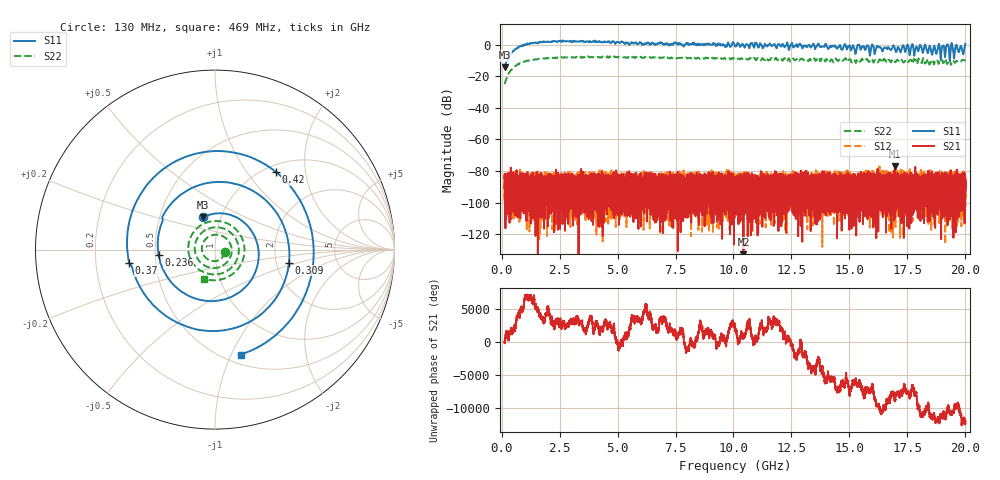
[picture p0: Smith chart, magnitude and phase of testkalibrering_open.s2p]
!Created with skrf (http://scikit-rf.org).
# GHz S RI R 50.0
!freq ReS11 ImS11 ReS21 ImS21 ReS12 ImS12 ReS22 ImS22
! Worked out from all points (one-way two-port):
!   20013 points, 130 MHz to 20 GHz, reference 50 ohm
!   highest |S21| = -77.01 dB at 16.97 GHz (marker M1); lowest = -135.9 dB at 10.43 GHz (marker M2)
!   lowest |S11| = -14.4 dB at 130 MHz (marker M3), VSWR 1.47, Z = 41.3 + j15.3 ohm
!   |S11| at or under -10 dB: start of sweep to 236.1 MHz; 19.31883 GHz to 19.32974 GHz (10.91 MHz wide, 0.0565 % of centre)
!   |S22| runs from -25.0 to -7.4 dB; largest |S21 - S12| = 0.00018
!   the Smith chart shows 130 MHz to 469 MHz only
!   S11 on the Smith chart (normalised r, x): 130 MHz: 0.83, +0.31; 236 MHz: 0.52, -0.04; 309 MHz: 2.35, -0.41; 370 MHz: 0.35, -0.07; 420 MHz: 1.12, +1.39; 469 MHz: 0.59, -1.09
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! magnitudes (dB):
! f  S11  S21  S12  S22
! 130 MHz  -14.4  -84.4  -91.4  -25.0
! 236 MHz  -10.0  -91.3  -83.8  -20.4
! 309 MHz  -7.6  -92.9  -84.7  -18.1
! 370 MHz  -6.3  -93.3  -87.6  -16.9
! 420 MHz  -5.2  -90.9  -84.8  -15.8
! 469 MHz  -4.4  -86.1  -86.6  -15.2
! 875 MHz  -0.7  -90.2  -90.1  -11.3
! 1.37 GHz  0.9  -88.2  -84.2  -9.6
! 3.442 GHz  2.3  -87.6  -93.5  -7.7
! 6.754 GHz  0.5  -90.0  -90.2  -8.3
! 10.06 GHz  -1.0  -87.0  -98.0  -9.2
! 10.43 GHz  -0.4  -135.9  -88.9  -9.1
! 13.38 GHz  -1.2  -86.8  -91.4  -10.4
! 16.69 GHz  -1.8  -92.2  -91.4  -9.7
! 16.97 GHz  -3.3  -77.0  -85.3  -11.2
! 18 GHz  -2.9  -95.5  -91.7  -9.2
! 18.65 GHz  -0.9  -101.3  -91.3  -12.4
! 19.42 GHz  0.5  -94.3  -82.1  -11.0
! 19.52 GHz  -8.5  -88.2  -92.5  -10.9
! 19.62 GHz  -0.4  -96.6  -86.1  -10.2
! 19.9 GHz  -6.2  -88.6  -90.4  -9.8
! 20 GHz  0.4  -89.1  -95.1  -10.5
